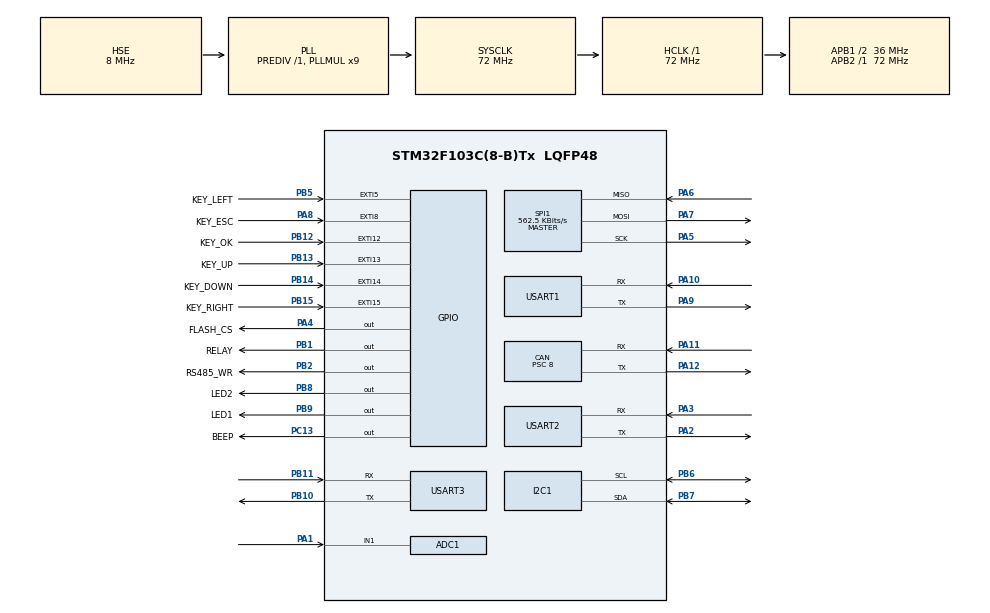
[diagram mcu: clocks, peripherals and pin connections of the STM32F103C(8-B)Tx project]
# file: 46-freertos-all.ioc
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ADC1.Channel-0\#ChannelRegularConversion=ADC_CHANNEL_1
ADC1.NbrOfConversionFlag=1
ADC1.Rank-0\#ChannelRegularConversion=1
ADC1.SamplingTime-0\#ChannelRegularConversion=ADC_SAMPLETIME_239CYCLES_5
ADC1.master=1
CAN.BS1=CAN_BS1_6TQ
CAN.BS2=CAN_BS2_2TQ
CAN.CalculateBaudRate=500000
CAN.CalculateTimeBit=2000
CAN.CalculateTimeQuantum=222.22222222222223
CAN.Prescaler=8
Dma.Request0=USART1_RX
Dma.Request1=USART2_RX
Dma.Request2=USART3_RX
Dma.USART1_RX.0.Direction=DMA_PERIPH_TO_MEMORY
Dma.USART1_RX.0.Instance=DMA1_Channel5
Dma.USART1_RX.0.MemDataAlignment=DMA_MDATAALIGN_BYTE
Dma.USART1_RX.0.MemInc=DMA_MINC_ENABLE
Dma.USART1_RX.0.Mode=DMA_CIRCULAR
Dma.USART1_RX.0.PeriphDataAlignment=DMA_PDATAALIGN_BYTE
Dma.USART1_RX.0.PeriphInc=DMA_PINC_DISABLE
Dma.USART1_RX.0.Priority=DMA_PRIORITY_LOW
Dma.USART2_RX.1.Direction=DMA_PERIPH_TO_MEMORY
Dma.USART2_RX.1.Instance=DMA1_Channel6
Dma.USART2_RX.1.MemDataAlignment=DMA_MDATAALIGN_BYTE
Dma.USART2_RX.1.MemInc=DMA_MINC_ENABLE
Dma.USART2_RX.1.Mode=DMA_CIRCULAR
Dma.USART2_RX.1.PeriphDataAlignment=DMA_PDATAALIGN_BYTE
Dma.USART2_RX.1.PeriphInc=DMA_PINC_DISABLE
Dma.USART2_RX.1.Priority=DMA_PRIORITY_LOW
Dma.USART3_RX.2.Direction=DMA_PERIPH_TO_MEMORY
Dma.USART3_RX.2.Instance=DMA1_Channel3
Dma.USART3_RX.2.MemDataAlignment=DMA_MDATAALIGN_BYTE
Dma.USART3_RX.2.MemInc=DMA_MINC_ENABLE
Dma.USART3_RX.2.Mode=DMA_CIRCULAR
Dma.USART3_RX.2.PeriphDataAlignment=DMA_PDATAALIGN_BYTE
Dma.USART3_RX.2.PeriphInc=DMA_PINC_DISABLE
Dma.USART3_RX.2.Priority=DMA_PRIORITY_LOW
FREERTOS.Tasks01=UP,0,128,UPTask,Default,NULL,Dynamic,NULL,NULL;DOWN,0,128,DownTask,Default,NULL,Dynamic,NULL,NULL;LEFT,0,128,LeftTask,Default,NULL,Dynamic,NULL,NULL;RIGHT,0,128,RightTask,Default,NULL,Dynamic,NULL,NULL;OK,0,128,OKTask,Default,NULL,Dynamic,NULL,NULL;ESC,0,128,EscTask,Default,NULL,Dynamic,NULL,NULL
FREERTOS.configTOTAL_HEAP_SIZE=4096
Mcu.Family=STM32F1
Mcu.Name=STM32F103C(8-B)Tx
Mcu.Package=LQFP48
NVIC.DMA1_Channel3_IRQn=true\:5\:0\:false\:false\:true\:true\:false\:true\:true
NVIC.DMA1_Channel5_IRQn=true\:5\:0\:false\:false\:true\:true\:false\:true\:true
NVIC.DMA1_Channel6_IRQn=true\:5\:0\:false\:false\:true\:true\:false\:true\:true
NVIC.EXTI15_10_IRQn=true\:5\:0\:true\:false\:true\:true\:true\:true\:true
NVIC.EXTI9_5_IRQn=true\:5\:0\:true\:false\:true\:true\:true\:true\:true
NVIC.PriorityGroup=NVIC_PRIORITYGROUP_4
NVIC.TIM1_UP_IRQn=true\:15\:0\:false\:false\:true\:false\:false\:true\:true
NVIC.TIM4_IRQn=true\:5\:0\:false\:false\:true\:true\:true\:true\:true
NVIC.TimeBase=TIM1_UP_IRQn
NVIC.TimeBaseIP=TIM1
NVIC.USART1_IRQn=true\:5\:0\:false\:false\:true\:true\:true\:true\:true
NVIC.USART2_IRQn=true\:5\:0\:false\:false\:true\:true\:true\:true\:true
NVIC.USART3_IRQn=true\:5\:0\:false\:false\:true\:true\:true\:true\:true
NVIC.USB_LP_CAN1_RX0_IRQn=true\:5\:0\:false\:false\:true\:true\:true\:true\:true
PA1.Signal=ADCx_IN1
PA10.Mode=Asynchronous
PA10.Signal=USART1_RX
PA11.Mode=CAN_Activate
PA11.Signal=CAN_RX
PA12.Mode=CAN_Activate
PA12.Signal=CAN_TX
PA13.Mode=Serial_Wire
PA13.Signal=SYS_JTMS-SWDIO
PA14.Mode=Serial_Wire
PA14.Signal=SYS_JTCK-SWCLK
PA2.Mode=Asynchronous
PA2.Signal=USART2_TX
PA3.Mode=Asynchronous
PA3.Signal=USART2_RX
PA4.GPIO_Label=FLASH_CS
PA4.GPIO_Speed=GPIO_SPEED_FREQ_HIGH
PA4.PinState=GPIO_PIN_SET
PA4.Signal=GPIO_Output
PA5.Mode=Full_Duplex_Master
PA5.Signal=SPI1_SCK
PA6.Mode=Full_Duplex_Master
PA6.Signal=SPI1_MISO
PA7.Mode=Full_Duplex_Master
PA7.Signal=SPI1_MOSI
PA8.GPIO_Label=KEY_ESC
PA8.GPIO_ModeDefaultEXTI=GPIO_MODE_IT_FALLING
PA8.GPIO_PuPd=GPIO_PULLUP
PA8.Signal=GPXTI8
PA9.Mode=Asynchronous
PA9.Signal=USART1_TX
PB1.GPIO_Label=RELAY
PB1.Signal=GPIO_Output
PB10.Mode=Asynchronous
PB10.Signal=USART3_TX
PB11.Mode=Asynchronous
PB11.Signal=USART3_RX
PB12.GPIO_Label=KEY_OK
PB12.GPIO_ModeDefaultEXTI=GPIO_MODE_IT_FALLING
PB12.GPIO_PuPd=GPIO_PULLUP
PB12.Signal=GPXTI12
PB13.GPIO_Label=KEY_UP
PB13.GPIO_ModeDefaultEXTI=GPIO_MODE_IT_FALLING
PB13.GPIO_PuPd=GPIO_PULLUP
PB13.Signal=GPXTI13
PB14.GPIO_Label=KEY_DOWN
PB14.GPIO_ModeDefaultEXTI=GPIO_MODE_IT_FALLING
PB14.GPIO_PuPd=GPIO_PULLUP
PB14.Signal=GPXTI14
PB15.GPIO_Label=KEY_RIGHT
PB15.GPIO_ModeDefaultEXTI=GPIO_MODE_IT_FALLING
PB15.GPIO_PuPd=GPIO_PULLUP
PB15.Signal=GPXTI15
PB2.GPIO_Label=RS485_WR
PB2.Signal=GPIO_Output
PB5.GPIO_Label=KEY_LEFT
PB5.GPIO_ModeDefaultEXTI=GPIO_MODE_IT_FALLING
PB5.GPIO_PuPd=GPIO_PULLUP
PB5.Signal=GPXTI5
PB6.Mode=I2C
PB6.Signal=I2C1_SCL
PB7.Mode=I2C
PB7.Signal=I2C1_SDA
PB8.GPIO_Label=LED2
PB8.PinState=GPIO_PIN_SET
PB8.Signal=GPIO_Output
PB9.GPIO_Label=LED1
PB9.PinState=GPIO_PIN_SET
PB9.Signal=GPIO_Output
PC13-TAMPER-RTC.GPIO_Label=BEEP
PC13-TAMPER-RTC.Signal=GPIO_Output
PC14-OSC32_IN.Mode=LSE-External-Oscillator
PC14-OSC32_IN.Signal=RCC_OSC32_IN
PC15-OSC32_OUT.Mode=LSE-External-Oscillator
PC15-OSC32_OUT.Signal=RCC_OSC32_OUT
PD0-OSC_IN.Mode=HSE-External-Oscillator
PD0-OSC_IN.Signal=RCC_OSC_IN
PD1-OSC_OUT.Mode=HSE-External-Oscillator
PD1-OSC_OUT.Signal=RCC_OSC_OUT
ProjectManager.HeapSize=0x200
ProjectManager.StackSize=0x400
ProjectManager.TargetToolchain=MDK-ARM V5.32
RCC.ADCPresc=RCC_ADCPCLK2_DIV6
RCC.AHBFreq_Value=72000000
RCC.APB1CLKDivider=RCC_HCLK_DIV2
RCC.APB1Freq_Value=36000000
RCC.APB1TimFreq_Value=72000000
RCC.APB2Freq_Value=72000000
RCC.APB2TimFreq_Value=72000000
RCC.HCLKFreq_Value=72000000
RCC.PLLMUL=RCC_PLL_MUL9
RCC.PLLSourceVirtual=RCC_PLLSOURCE_HSE
RCC.RTCClockSelection=RCC_RTCCLKSOURCE_LSE
RCC.SYSCLKFreq_VALUE=72000000
RCC.SYSCLKSource=RCC_SYSCLKSOURCE_PLLCLK
RCC.USBFreq_Value=72000000
RTC.AutoPrediv=RTC_AUTO_1_SECOND
SH.ADCx_IN1.0=ADC1_IN1,IN1
SPI1.BaudRatePrescaler=SPI_BAUDRATEPRESCALER_128
SPI1.CalculateBaudRate=562.5 KBits/s
SPI1.Direction=SPI_DIRECTION_2LINES
SPI1.Mode=SPI_MODE_MASTER
SPI1.VirtualType=VM_MASTER
TIM4.Period=100
TIM4.Prescaler=7200-1
USART1.VirtualMode=VM_ASYNC
USART2.VirtualMode=VM_ASYNC
USART3.VirtualMode=VM_ASYNC
VP_FREERTOS_VS_CMSIS_V1.Mode=CMSIS_V1
VP_RTC_No_RTC_Output.Mode=RTC_OUT_NO
VP_RTC_VS_RTC_Activate.Mode=RTC_Enabled
VP_SYS_VS_tim1.Mode=TIM1
VP_TIM4_VS_ClockSourceINT.Mode=Internal
board=custom

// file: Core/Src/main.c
/* USER CODE BEGIN Header */
/**
  ******************************************************************************
  * @file           : main.c
  * @brief          : Main program body
  ******************************************************************************
  * @attention
  *
  * Copyright (c) 2025 STMicroelectronics.
  * All rights reserved.
  *
  * This software is licensed under terms that can be found in the LICENSE file
  * in the root directory of this software component.
  * If no LICENSE file comes with this software, it is provided AS-IS.
  *
  ******************************************************************************
  */
/* USER CODE END Header */
#include "main.h"
#include "cmsis_os.h"
#include "adc.h"
#include "can.h"
#include "dma.h"
#include "i2c.h"
#include "rtc.h"
#include "spi.h"
#include "tim.h"
#include "usart.h"
#include "gpio.h"

/* USER CODE BEGIN Includes */
#include <stdio.h>
#include "oled.h"
#include "aht20.h"
#include "ina226.h"
#include "w25qx.h"
#include "wifi4g.h"
/* USER CODE END Includes */

void SystemClock_Config(void);
void MX_FREERTOS_Init(void);

int main(void)
{

  /* MCU Configuration--------------------------------------------------------*/

  /* Reset of all peripherals, Initializes the Flash interface and the Systick. */
  HAL_Init();

  /* Configure the system clock */
  SystemClock_Config();

  /* Initialize all configured peripherals */
  MX_GPIO_Init();
  MX_DMA_Init();
  MX_I2C1_Init();
  MX_RTC_Init();
  MX_ADC1_Init();
  MX_SPI1_Init();
  MX_CAN_Init();
  MX_USART1_UART_Init();
  MX_USART2_UART_Init();
  MX_USART3_UART_Init();
  MX_TIM4_Init();
  /* USER CODE BEGIN 2 */
	HAL_Delay(400); // 这里延时是给esp8266 打印日志使用的
	// 经过测试 , 400ms时, 日志输出就没有了, 为了安全,我们设置400ms 以上的延时
	// 等待esp8266 输出初始化日志, 要不然一旦开启uart3就会触发dma中断,早期的esp8266初始化的数据波特率不是
	// 115200, 会造成uart3的错误,要在uart3中做错误恢复

	__HAL_UART_ENABLE_IT(&huart1, UART_IT_IDLE); //使能串UART1 IDLE(空闲)中断
	HAL_UART_Receive_DMA(&huart1, RX1_Buf, DMA_BUF_SIZE); //设置DMA传输，将uart1的数据搬运到RX1_Buf中

	__HAL_UART_ENABLE_IT(&huart2, UART_IT_IDLE); //使能串UART1 IDLE(空闲)中断
	HAL_UART_Receive_DMA(&huart2, RX2_Buf, DMA_BUF_SIZE); //设置DMA传输，将uart1的数据搬运到RX2_Buf中

	__HAL_UART_ENABLE_IT(&huart3, UART_IT_IDLE); //使能串UART3 IDLE(空闲)中断
	HAL_UART_Receive_DMA(&huart3, RX3_Buf, DMA_BUF_SIZE); //设置DMA传输，将uart3的数据搬运到RX3_Buf中

	printf("Uart1 init is ok\n");
	printf("FreeRTOS All\n");
	//EEPROM_Test();

	OLED_Init();
	OLED_CLS(); // 清除屏幕显示
	OLED_ShowStr(16,0, (unsigned char*)"FreeRTOS All", 2);
	AHT20_Init();
	INA226_Init();

	//W25Qx_Test();
	CANFilter_Init();
	CAN_Start_Init();
	//ESP8266_Init();
  /* USER CODE END 2 */

  /* Call init function for freertos objects (in cmsis_os2.c) */
  MX_FREERTOS_Init();

  /* Start scheduler */
  osKernelStart();

  /* We should never get here as control is now taken by the scheduler */

  /* Infinite loop */
  while (1)
  {

    /* USER CODE BEGIN 3 */
		//LED_Test();
		//BEEP_Test();
		//RELAY_Test();
		//KEY_Test();
		//OLED_Test();
		//AHT20_Test();
		//INA226_Test();
		//IWDG_Test();
		//RTC_Test();
		//ADC_VR_Test();
		//ADC_CPU_Test();
		//ADC_VR_CPU_Test();
		//CAN_Test();
		//ESP8266_Test();
		//ML307_Test();

  }
  /* USER CODE END 3 */
}

void SystemClock_Config(void)
{
  RCC_OscInitTypeDef RCC_OscInitStruct = {0};
  RCC_ClkInitTypeDef RCC_ClkInitStruct = {0};
  RCC_PeriphCLKInitTypeDef PeriphClkInit = {0};

  /** Initializes the RCC Oscillators according to the specified parameters
  * in the RCC_OscInitTypeDef structure.
  */
  RCC_OscInitStruct.OscillatorType = RCC_OSCILLATORTYPE_HSE|RCC_OSCILLATORTYPE_LSE;
  RCC_OscInitStruct.HSEState = RCC_HSE_ON;
  RCC_OscInitStruct.HSEPredivValue = RCC_HSE_PREDIV_DIV1;
  RCC_OscInitStruct.LSEState = RCC_LSE_ON;
  RCC_OscInitStruct.HSIState = RCC_HSI_ON;
  RCC_OscInitStruct.PLL.PLLState = RCC_PLL_ON;
  RCC_OscInitStruct.PLL.PLLSource = RCC_PLLSOURCE_HSE;
  RCC_OscInitStruct.PLL.PLLMUL = RCC_PLL_MUL9;
  if (HAL_RCC_OscConfig(&RCC_OscInitStruct) != HAL_OK)
  {
    Error_Handler();
  }

  /** Initializes the CPU, AHB and APB buses clocks
  */
  RCC_ClkInitStruct.ClockType = RCC_CLOCKTYPE_HCLK|RCC_CLOCKTYPE_SYSCLK
                              |RCC_CLOCKTYPE_PCLK1|RCC_CLOCKTYPE_PCLK2;
  RCC_ClkInitStruct.SYSCLKSource = RCC_SYSCLKSOURCE_PLLCLK;
  RCC_ClkInitStruct.AHBCLKDivider = RCC_SYSCLK_DIV1;
  RCC_ClkInitStruct.APB1CLKDivider = RCC_HCLK_DIV2;
  RCC_ClkInitStruct.APB2CLKDivider = RCC_HCLK_DIV1;

  if (HAL_RCC_ClockConfig(&RCC_ClkInitStruct, FLASH_LATENCY_2) != HAL_OK)
  {
    Error_Handler();
  }
  PeriphClkInit.PeriphClockSelection = RCC_PERIPHCLK_RTC|RCC_PERIPHCLK_ADC;
  PeriphClkInit.RTCClockSelection = RCC_RTCCLKSOURCE_LSE;
  PeriphClkInit.AdcClockSelection = RCC_ADCPCLK2_DIV6;
  if (HAL_RCCEx_PeriphCLKConfig(&PeriphClkInit) != HAL_OK)
  {
    Error_Handler();
  }
}

void HAL_TIM_PeriodElapsedCallback(TIM_HandleTypeDef *htim)
{
  if (htim->Instance == TIM1)
  {
    HAL_IncTick();
  }
  /* USER CODE BEGIN Callback 1 */
		// 定时10ms, 产生中断
	else if(htim->Instance == TIM4)
	{
		// 关闭定时器  ， 开始处理接收的数据
		HAL_TIM_Base_Stop(&htim4); // 关闭定时器4中断
		WIFI4G_CMD_Status =  WIFI4G_Parse_Queue(&QUART3) ;
	}
  /* USER CODE END Callback 1 */
}

void Error_Handler(void)
{
  __disable_irq();
  while (1)
  {
  }
}

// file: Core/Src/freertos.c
/* USER CODE BEGIN Header */
/**
  ******************************************************************************
  * File Name          : freertos.c
  * Description        : Code for freertos applications
  ******************************************************************************
  * @attention
  *
  * Copyright (c) 2025 STMicroelectronics.
  * All rights reserved.
  *
  * This software is licensed under terms that can be found in the LICENSE file
  * in the root directory of this software component.
  * If no LICENSE file comes with this software, it is provided AS-IS.
  *
  ******************************************************************************
  */
/* USER CODE END Header */

#include "FreeRTOS.h"
#include "task.h"
#include "main.h"
#include "cmsis_os.h"

/* USER CODE BEGIN Includes */
#include "gpio.h"
#include "oled.h"
#include "aht20.h"
#include "ina226.h"
#include "adc.h"
#include "rtc.h"
#include "w25qx.h"
#include "wifi4g.h"
#include "usart.h"
#include "can.h"
/* USER CODE END Includes */

osThreadId UPHandle;
osThreadId DOWNHandle;
osThreadId LEFTHandle;
osThreadId RIGHTHandle;
osThreadId OKHandle;
osThreadId ESCHandle;

void UPTask(void const * argument);
void DownTask(void const * argument);
void LeftTask(void const * argument);
void RightTask(void const * argument);
void OKTask(void const * argument);
void EscTask(void const * argument);

void MX_FREERTOS_Init(void); /* (MISRA C 2004 rule 8.1) */

/* GetIdleTaskMemory prototype (linked to static allocation support) */
void vApplicationGetIdleTaskMemory( StaticTask_t **ppxIdleTaskTCBBuffer, StackType_t **ppxIdleTaskStackBuffer, uint32_t *pulIdleTaskStackSize );

/* USER CODE BEGIN GET_IDLE_TASK_MEMORY */
static StaticTask_t xIdleTaskTCBBuffer;
static StackType_t xIdleStack[configMINIMAL_STACK_SIZE];

void vApplicationGetIdleTaskMemory( StaticTask_t **ppxIdleTaskTCBBuffer, StackType_t **ppxIdleTaskStackBuffer, uint32_t *pulIdleTaskStackSize )
{
  *ppxIdleTaskTCBBuffer = &xIdleTaskTCBBuffer;
  *ppxIdleTaskStackBuffer = &xIdleStack[0];
  *pulIdleTaskStackSize = configMINIMAL_STACK_SIZE;
  /* place for user code */
}
/* USER CODE END GET_IDLE_TASK_MEMORY */

void MX_FREERTOS_Init(void) {

  /* Create the thread(s) */
  /* definition and creation of UP */
  osThreadDef(UP, UPTask, osPriorityNormal, 0, 128);
  UPHandle = osThreadCreate(osThread(UP), NULL);

  /* definition and creation of DOWN */
  osThreadDef(DOWN, DownTask, osPriorityNormal, 0, 128);
  DOWNHandle = osThreadCreate(osThread(DOWN), NULL);

  /* definition and creation of LEFT */
  osThreadDef(LEFT, LeftTask, osPriorityNormal, 0, 128);
  LEFTHandle = osThreadCreate(osThread(LEFT), NULL);

  /* definition and creation of RIGHT */
  osThreadDef(RIGHT, RightTask, osPriorityNormal, 0, 128);
  RIGHTHandle = osThreadCreate(osThread(RIGHT), NULL);

  /* definition and creation of OK */
  osThreadDef(OK, OKTask, osPriorityNormal, 0, 128);
  OKHandle = osThreadCreate(osThread(OK), NULL);

  /* definition and creation of ESC */
  osThreadDef(ESC, EscTask, osPriorityNormal, 0, 128);
  ESCHandle = osThreadCreate(osThread(ESC), NULL);

}

void UPTask(void const * argument)
{
  /* USER CODE BEGIN UPTask */
  /* Infinite loop */
  for(;;)
  {
		if(Key_Value == KEY_UP)
		{
				OLED_ShowStr(0 ,0, (unsigned char*)"   GPIO Test    ", 2);
				OLED_ShowStr(0 ,2, (unsigned char*)"                ", 2);
				OLED_ShowStr(0 ,4, (unsigned char*)"                ", 2);
				OLED_ShowStr(0 ,6, (unsigned char*)"                ", 2);
				LED_Control(LED1,ON);
				LED_Control(LED2,ON);
				BEEP_Control(ON);
				RELAY_Control(ON);
				osDelay(1000);
				LED_Control(LED1,OFF);
				LED_Control(LED2,OFF);
				BEEP_Control(OFF);
				RELAY_Control(OFF);
				osDelay(1000);
		}
		osDelay(100);

  }
  /* USER CODE END UPTask */
}

void DownTask(void const * argument)
{
  /* USER CODE BEGIN DownTask */
  /* Infinite loop */
  for(;;)
  {
		if(Key_Value == KEY_DOWN)
		{
				OLED_ShowStr(0 ,0, (unsigned char*)"   AHT20 Test   ", 2);
				OLED_ShowStr(0 ,2, (unsigned char*)"                ", 2);
				OLED_ShowStr(0 ,4, (unsigned char*)"                ", 2);
				OLED_ShowStr(0 ,6, (unsigned char*)"                ", 2);
				AHT20_Test();
				osDelay(1000);
				OLED_ShowStr(0 ,0, (unsigned char*)"   INA226 Test  ", 2);
				OLED_ShowStr(0 ,2, (unsigned char*)"                ", 2);
				OLED_ShowStr(0 ,4, (unsigned char*)"                ", 2);
				OLED_ShowStr(0 ,6, (unsigned char*)"                ", 2);
				INA226_Test();
				osDelay(1000);
		}
		osDelay(100);
  }
  /* USER CODE END DownTask */
}

void LeftTask(void const * argument)
{
  /* USER CODE BEGIN LeftTask */
  /* Infinite loop */
  for(;;)
  {
    if(Key_Value == KEY_LEFT)
		{
				OLED_ShowStr(0 ,0, (unsigned char*)" ADC VRCPU Test ", 2);
				OLED_ShowStr(0 ,2, (unsigned char*)"                ", 2);
				ADC_VR_CPU_Test();
		}
		osDelay(100);
  }
  /* USER CODE END LeftTask */
}

void RightTask(void const * argument)
{
  /* USER CODE BEGIN RightTask */
  /* Infinite loop */
  for(;;)
  {
    if(Key_Value == KEY_RIGHT)
		{
				OLED_ShowStr(0 ,0, (unsigned char*)"    RTC Test    ", 2);
				OLED_ShowStr(0 ,2, (unsigned char*)"                ", 2);
				RTC_Test();
				osDelay(900);
		}
		osDelay(100);
  }
  /* USER CODE END RightTask */
}

void OKTask(void const * argument)
{
  /* USER CODE BEGIN OKTask */
  /* Infinite loop */
  for(;;)
  {
    if(Key_Value == KEY_OK)
		{
				OLED_ShowStr(0 ,0, (unsigned char*)"   Flash Test   ", 2);
				OLED_ShowStr(0 ,2, (unsigned char*)"                ", 2);
				EEPROM_Test();
				W25Qx_Test();
				osDelay(1000);
		}
		osDelay(100);
  }
  /* USER CODE END OKTask */
}

void EscTask(void const * argument)
{
  /* USER CODE BEGIN EscTask */
  /* Infinite loop */
  for(;;)
  {
    if(Key_Value == KEY_ESC)
		{
				Key_Value = 0 ;
				OLED_ShowStr(0 ,0, (unsigned char*)" WIFI4G CAN 485 ", 2);
				OLED_ShowStr(0 ,2, (unsigned char*)"                ", 2);
				OLED_ShowStr(0 ,6, (unsigned char*)"                ", 2);
				if(WIFI4G_AT_Test() == SET) // AT指令测试OK
				{
						OLED_ShowStr(0,4,(unsigned char *)"WIFI4G Test OK  ",2);
				}
				else
				{
						OLED_ShowStr(0,4,(unsigned char *)"WIFI4G Test Fail",2);
				}

				HAL_GPIO_WritePin(RS485_WR_GPIO_Port, RS485_WR_Pin, GPIO_PIN_SET);
				HAL_UART_Transmit(&huart2,(uint8_t *)"RS485 Test",10,HAL_MAX_DELAY);
				// 低电平  默认为接收模式
				HAL_GPIO_WritePin(RS485_WR_GPIO_Port, RS485_WR_Pin, GPIO_PIN_RESET);
				CAN_Test();
		}
		osDelay(100);
  }
  /* USER CODE END EscTask */
}
